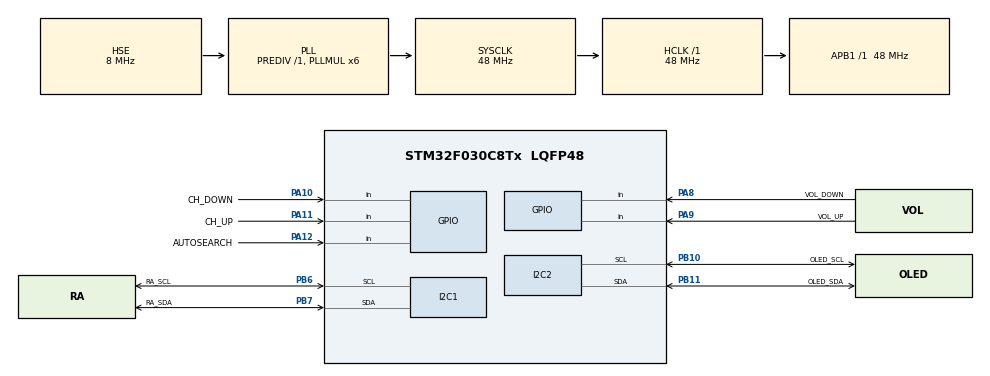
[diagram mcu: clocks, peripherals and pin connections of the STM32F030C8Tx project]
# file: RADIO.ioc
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I2C1.Timing=0x00201D2B
I2C2.Timing=0x10805D88
Mcu.Family=STM32F0
Mcu.Name=STM32F030C8Tx
Mcu.Package=LQFP48
PA10.GPIO_Label=CH_DOWN
PA10.GPIO_PuPd=GPIO_PULLUP
PA10.Signal=GPIO_Input
PA11.GPIO_Label=CH_UP
PA11.GPIO_PuPd=GPIO_PULLUP
PA11.Signal=GPIO_Input
PA12.GPIO_Label=AUTOSEARCH
PA12.GPIO_Mode=GPIO_MODE_INPUT
PA12.GPIO_PuPd=GPIO_PULLUP
PA12.Signal=GPIO_Input
PA13.Mode=Serial_Wire
PA13.Signal=SYS_SWDIO
PA14.Mode=Serial_Wire
PA14.Signal=SYS_SWCLK
PA8.GPIO_Label=VOL_DOWN
PA8.GPIO_PuPd=GPIO_PULLUP
PA8.Signal=GPIO_Input
PA9.GPIO_Label=VOL_UP
PA9.GPIO_PuPd=GPIO_PULLUP
PA9.Signal=GPIO_Input
PB10.GPIO_Label=OLED_SCL
PB10.GPIO_Pu=GPIO_PULLUP
PB10.Mode=I2C
PB10.Signal=I2C2_SCL
PB11.GPIO_Label=OLED_SDA
PB11.GPIO_Pu=GPIO_PULLUP
PB11.Mode=I2C
PB11.Signal=I2C2_SDA
PB6.GPIO_Label=RA_SCL
PB6.GPIO_Pu=GPIO_PULLUP
PB6.Mode=I2C
PB6.Signal=I2C1_SCL
PB7.GPIO_Label=RA_SDA
PB7.GPIO_Pu=GPIO_PULLUP
PB7.Mode=I2C
PB7.Signal=I2C1_SDA
PC14-OSC32_IN.Mode=LSE-External-Oscillator
PC14-OSC32_IN.Signal=RCC_OSC32_IN
PC15-OSC32_OUT.Mode=LSE-External-Oscillator
PC15-OSC32_OUT.Signal=RCC_OSC32_OUT
PF0-OSC_IN.Mode=HSE-External-Oscillator
PF0-OSC_IN.Signal=RCC_OSC_IN
PF1-OSC_OUT.Mode=HSE-External-Oscillator
PF1-OSC_OUT.Signal=RCC_OSC_OUT
ProjectManager.HeapSize=0x200
ProjectManager.StackSize=0x400
ProjectManager.TargetToolchain=MDK-ARM V5.32
RCC.AHBFreq_Value=48000000
RCC.APB1Freq_Value=48000000
RCC.APB1TimFreq_Value=48000000
RCC.HCLKFreq_Value=48000000
RCC.PLLMUL=RCC_PLL_MUL6
RCC.PLLSourceVirtual=RCC_PLLSOURCE_HSE
RCC.SYSCLKFreq_VALUE=48000000
RCC.SYSCLKSource=RCC_SYSCLKSOURCE_PLLCLK
board=custom

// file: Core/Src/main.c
/* USER CODE BEGIN Header */
/**
 ******************************************************************************
 * @file           : main.c
 * @brief          : Main program body
 ******************************************************************************
 * @attention
 *
 * Copyright (c) 2025 STMicroelectronics.
 * All rights reserved.
 *
 * This software is licensed under terms that can be found in the LICENSE file
 * in the root directory of this software component.
 * If no LICENSE file comes with this software, it is provided AS-IS.
 *
 ******************************************************************************
 */
/* USER CODE END Header */
#include "main.h"
#include "i2c.h"
#include "gpio.h"

/* USER CODE BEGIN Includes */
#include "OLED.h"
#include "RDA5807.h"
/* USER CODE END Includes */

/* USER CODE BEGIN PV */
uint8_t vol_value = 7; // 音量值
uint8_t chan_cnt = 0;  // 频道数量
float now_chan = 0;    // 当前频道
/* USER CODE END PV */

void SystemClock_Config(void);

/* USER CODE BEGIN 0 */
void ShowAllChannel(uint8_t chan_cnt);
/* USER CODE END 0 */

int main(void)
{

    /* MCU Configuration--------------------------------------------------------*/

    /* Reset of all peripherals, Initializes the Flash interface and the Systick. */
    HAL_Init();

    /* Configure the system clock */
    SystemClock_Config();

    /* Initialize all configured peripherals */
    MX_GPIO_Init();
    MX_I2C1_Init();
    MX_I2C2_Init();
    /* USER CODE BEGIN 2 */
    OLED_Init(); // OLED初始化

    // 复位
    RDA5807_Reset();
    // 上电
    RDA5807_PowerOn();
    // 搜台
    OLED_ShowString(1, 1, "Searching...", OLED_8x6);
    chan_cnt = RDA5807_AutoSearch();
    // 显示频道数量
    OLED_Clear();
    OLED_ShowString(1, 1, "Station Count:", OLED_8x6);
    OLED_ShowNum(1, 15, chan_cnt, 2, OLED_8x6);
    // 显示所有频道
    ShowAllChannel(chan_cnt);
    /* USER CODE END 2 */

    /* Infinite loop */
    /* USER CODE BEGIN WHILE */
    while (1)
    {
        // 音量调节
        if (HAL_GPIO_ReadPin(VOL_UP_GPIO_Port, VOL_UP_Pin) == GPIO_PIN_RESET)
        {
            HAL_Delay(20);
            while (HAL_GPIO_ReadPin(VOL_UP_GPIO_Port, VOL_UP_Pin) == GPIO_PIN_RESET)
                ;
            HAL_Delay(20);
            if (vol_value < 15)
                vol_value++;
            else
                vol_value = 15;
            RDA5807_SetVolume(vol_value);
            OLED_ShowString(7, 1, "Volume:          ", OLED_8x6);
            OLED_ShowNum(7, 9, vol_value, 2, OLED_8x6);
        }
        if (HAL_GPIO_ReadPin(VOL_DOWN_GPIO_Port, VOL_DOWN_Pin) == GPIO_PIN_RESET)
        {
            HAL_Delay(20);
            while (HAL_GPIO_ReadPin(VOL_DOWN_GPIO_Port, VOL_DOWN_Pin) == GPIO_PIN_RESET)
                ;
            HAL_Delay(20);
            if (vol_value > 0)
                vol_value--;
            else
                vol_value = 0;
            RDA5807_SetVolume(vol_value);
            OLED_ShowString(7, 1, "Volume:          ", OLED_8x6);
            OLED_ShowNum(7, 9, vol_value, 2, OLED_8x6);
        }

        // 换台
        if (HAL_GPIO_ReadPin(CH_UP_GPIO_Port, CH_UP_Pin) == GPIO_PIN_RESET)
        {
            HAL_Delay(20);
            while (HAL_GPIO_ReadPin(CH_UP_GPIO_Port, CH_UP_Pin) == GPIO_PIN_RESET)
                ;
            HAL_Delay(20);
            now_chan = RDA5807_ChangeStation(1);
            OLED_ShowString(6, 1, "Now Channel:      ", OLED_8x6);
            OLED_ShowFloat(6, 14, now_chan, OLED_8x6);
        }
        if (HAL_GPIO_ReadPin(CH_DOWN_GPIO_Port, CH_DOWN_Pin) == GPIO_PIN_RESET)
        {
            HAL_Delay(20);
            while (HAL_GPIO_ReadPin(CH_DOWN_GPIO_Port, CH_DOWN_Pin) == GPIO_PIN_RESET)
                ;
            HAL_Delay(20);
            now_chan = RDA5807_ChangeStation(0);
            OLED_ShowString(6, 1, "Now Channel:      ", OLED_8x6);
            OLED_ShowFloat(6, 14, now_chan, OLED_8x6);
        }

        // 重新搜台
        if (HAL_GPIO_ReadPin(AUTOSEARCH_GPIO_Port, AUTOSEARCH_Pin) == GPIO_PIN_RESET)
        {
            HAL_Delay(20);
            while (HAL_GPIO_ReadPin(AUTOSEARCH_GPIO_Port, AUTOSEARCH_Pin) == GPIO_PIN_RESET)
                ;
            HAL_Delay(20);
            // 复位
            chan_cnt = 0;
            for (uint8_t i = 0; i < 25; i++)
            {
                channelBuf[i] = 0.0f;
            }

            OLED_Clear();
            OLED_ShowString(1, 1, "Searching...", OLED_8x6);
            chan_cnt = RDA5807_AutoSearch();
            // 显示频道数量
            OLED_Clear();
            OLED_ShowString(1, 1, "Station Count:", OLED_8x6);
            OLED_ShowNum(1, 15, chan_cnt, 2, OLED_8x6);
            // 显示所有频道
            ShowAllChannel(chan_cnt);
        }
        /* USER CODE END WHILE */

    }
}

void SystemClock_Config(void)
{
    RCC_OscInitTypeDef RCC_OscInitStruct = {0};
    RCC_ClkInitTypeDef RCC_ClkInitStruct = {0};
    RCC_PeriphCLKInitTypeDef PeriphClkInit = {0};

    /** Initializes the RCC Oscillators according to the specified parameters
     * in the RCC_OscInitTypeDef structure.
     */
    RCC_OscInitStruct.OscillatorType = RCC_OSCILLATORTYPE_HSI | RCC_OSCILLATORTYPE_HSE;
    RCC_OscInitStruct.HSEState = RCC_HSE_ON;
    RCC_OscInitStruct.HSIState = RCC_HSI_ON;
    RCC_OscInitStruct.HSICalibrationValue = RCC_HSICALIBRATION_DEFAULT;
    RCC_OscInitStruct.PLL.PLLState = RCC_PLL_ON;
    RCC_OscInitStruct.PLL.PLLSource = RCC_PLLSOURCE_HSE;
    RCC_OscInitStruct.PLL.PLLMUL = RCC_PLL_MUL6;
    RCC_OscInitStruct.PLL.PREDIV = RCC_PREDIV_DIV1;
    if (HAL_RCC_OscConfig(&RCC_OscInitStruct) != HAL_OK)
    {
        Error_Handler();
    }

    /** Initializes the CPU, AHB and APB buses clocks
     */
    RCC_ClkInitStruct.ClockType = RCC_CLOCKTYPE_HCLK | RCC_CLOCKTYPE_SYSCLK | RCC_CLOCKTYPE_PCLK1;
    RCC_ClkInitStruct.SYSCLKSource = RCC_SYSCLKSOURCE_PLLCLK;
    RCC_ClkInitStruct.AHBCLKDivider = RCC_SYSCLK_DIV1;
    RCC_ClkInitStruct.APB1CLKDivider = RCC_HCLK_DIV1;

    if (HAL_RCC_ClockConfig(&RCC_ClkInitStruct, FLASH_LATENCY_1) != HAL_OK)
    {
        Error_Handler();
    }
    PeriphClkInit.PeriphClockSelection = RCC_PERIPHCLK_I2C1;
    PeriphClkInit.I2c1ClockSelection = RCC_I2C1CLKSOURCE_HSI;
    if (HAL_RCCEx_PeriphCLKConfig(&PeriphClkInit) != HAL_OK)
    {
        Error_Handler();
    }
}

/* USER CODE BEGIN 4 */
/**
 * @brief  显示所有频道
 * @param  chan_cnt: 频道数量
 */
void ShowAllChannel(uint8_t chan_cnt)
{
    // 显示频道
    for (uint8_t i = 0; i < chan_cnt; i++)
    {
        if (i <= 3)
        {
            OLED_ShowFloat(2, 1 + i * 5, channelBuf[i], OLED_8x6);
        }
        else if (i > 3 && i <= 7)
        {
            OLED_ShowFloat(3, 1 + (i - 4) * 5, channelBuf[i], OLED_8x6);
        }
        else if (i > 7 && i <= 11)
        {
            OLED_ShowFloat(4, 1 + (i - 8) * 5, channelBuf[i], OLED_8x6);
        }
        else if (i > 11 && i <= 15)
        {
            OLED_ShowFloat(5, 1 + (i - 12) * 5, channelBuf[i], OLED_8x6);
        }
        else if (i > 15 && i <= 19)
        {
            OLED_ShowFloat(6, 1 + (i - 16) * 5, channelBuf[i], OLED_8x6);
        }
        else if (i > 19 && i <= 23)
        {
            OLED_ShowFloat(7, 1 + (i - 20) * 5, channelBuf[i], OLED_8x6);
        }
    }
}
/* USER CODE END 4 */

void Error_Handler(void)
{
    __disable_irq();
    while (1)
    {
    }
}
